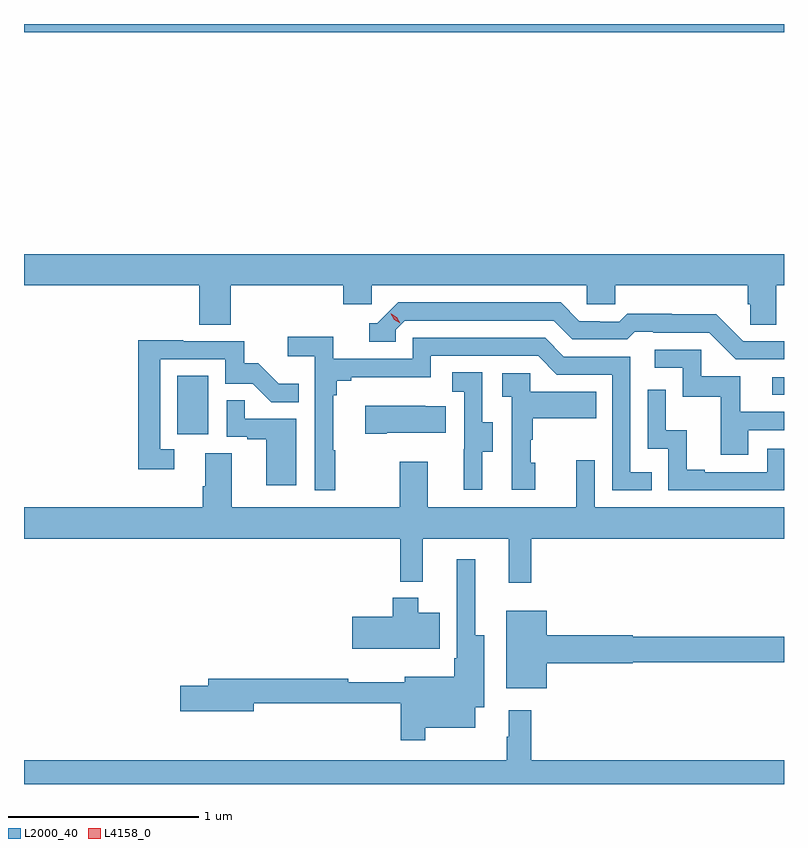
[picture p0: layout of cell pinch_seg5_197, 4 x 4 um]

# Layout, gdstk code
import gdstk
lib = gdstk.Library(unit=1e-6, precision=1e-09)
def R(c, l, rs):  # rectangles x0, y0, x1, y1
    for r in rs: c.add(gdstk.rectangle(r[:2], r[2:], *l))
def P(c, l, *ps):  # polygons
    for p in ps: c.add(gdstk.Polygon(p, *l))
L2000_40 = (2000, 40)
L4158_0 = (4158, 0)

pinch_seg5_197 = lib.new_cell('pinch_seg5_197')
R(pinch_seg5_197, L2000_40, [(1008.698,899.934,1008.862,900.241), (1011.831,900.141,1011.892,900.234), (1007.892,902.048,1011.892,902.092)])
P(pinch_seg5_197, L2000_40, [(1008.98,900.716),(1009.571,900.716),(1009.571,900.618),(1009.722,900.618),(1009.722,900.716),(1010.853,900.716),(1010.853,900.618),(1011.003,900.618),(1011.003,900.716),(1011.701,900.716),(1011.701,900.618),(1011.715,900.618),(1011.715,900.508),(1011.852,900.508),(1011.852,900.716),(1011.892,900.716),(1011.892,900.88),(1007.892,900.88),(1007.892,900.716),(1008.815,900.716),(1008.815,900.508),(1008.98,900.508)],
  [(1011.892,900.423),(1011.678,900.423),(1011.536,900.565),(1011.3,900.565),(1011.3,900.568),(1011.067,900.568),(1011.025,900.525),(1010.922,900.525),(1010.922,900.528),(1010.815,900.528),(1010.716,900.627),(1009.863,900.627),(1009.752,900.516),(1009.709,900.516),(1009.709,900.42),(1009.848,900.42),(1009.848,900.483),(1009.896,900.531),(1010.679,900.531),(1010.778,900.432),(1011.067,900.432),(1011.106,900.471),(1011.205,900.471),(1011.205,900.468),(1011.498,900.468),(1011.639,900.327),(1011.892,900.327)],
  [(1009.531,899.849),(1009.519,899.849),(1009.519,900.137),(1009.538,900.137),(1009.538,900.214),(1009.615,900.214),(1009.615,900.233),(1010.034,900.233),(1010.034,900.345),(1010.598,900.345),(1010.697,900.246),(1010.988,900.246),(1010.988,899.637),(1011.197,899.637),(1011.197,899.733),(1011.084,899.733),(1011.084,900.342),(1010.734,900.342),(1010.635,900.441),(1009.938,900.441),(1009.938,900.33),(1009.52,900.33),(1009.52,900.446),(1009.281,900.446),(1009.281,900.344),(1009.422,900.344),(1009.422,899.637),(1009.531,899.637)],
  [(1008.682,899.853),(1008.609,899.853),(1008.609,900.327),(1008.951,900.327),(1008.951,900.198),(1009.095,900.198),(1009.193,900.1),(1009.337,900.1),(1009.337,900.199),(1009.233,900.199),(1009.126,900.306),(1009.05,900.306),(1009.05,900.423),(1008.731,900.423),(1008.731,900.428),(1008.493,900.428),(1008.493,899.748),(1008.682,899.748)],
  [(1011.703,899.955),(1011.892,899.955),(1011.892,900.051),(1011.661,900.051),(1011.661,900.237),(1011.456,900.237),(1011.456,900.378),(1011.213,900.378),(1011.213,900.282),(1011.36,900.282),(1011.36,900.129),(1011.559,900.129),(1011.559,899.826),(1011.703,899.826)],
  [(1010.305,899.842),(1010.359,899.842),(1010.359,899.997),(1010.304,899.997),(1010.304,900.26),(1010.145,900.26),(1010.145,900.157),(1010.208,900.157),(1010.208,899.853),(1010.207,899.853),(1010.207,899.64),(1010.305,899.64)],
  [(1010.584,899.784),(1010.559,899.784),(1010.559,899.903),(1010.569,899.903),(1010.569,900.017),(1010.903,900.017),(1010.903,900.157),(1010.556,900.157),(1010.556,900.255),(1010.409,900.255),(1010.409,900.131),(1010.46,900.131),(1010.46,899.64),(1010.584,899.64)],
  [(1011.892,899.856),(1011.804,899.856),(1011.804,899.733),(1011.475,899.733),(1011.475,899.746),(1011.38,899.746),(1011.38,899.954),(1011.27,899.954),(1011.27,900.166),(1011.174,900.166),(1011.174,899.856),(1011.282,899.856),(1011.282,899.637),(1011.892,899.637)],
  [(1009.324,900.015),(1009.055,900.015),(1009.055,900.113),(1008.96,900.113),(1008.96,899.919),(1009.067,899.919),(1009.067,899.907),(1009.166,899.907),(1009.166,899.664),(1009.324,899.664)],
  [(1009.801,899.942),(1010.111,899.942),(1010.111,900.079),(1010.003,900.079),(1010.003,900.082),(1009.689,900.082),(1009.689,899.935),(1009.801,899.935)],
  [(1009.873,899.156),(1009.991,899.156),(1009.991,899.384),(1010.444,899.384),(1010.444,899.151),(1010.561,899.151),(1010.561,899.384),(1011.892,899.384),(1011.892,899.548),(1010.895,899.548),(1010.895,899.797),(1010.798,899.797),(1010.798,899.548),(1010.017,899.548),(1010.017,899.788),(1009.87,899.788),(1009.87,899.548),(1008.985,899.548),(1008.985,899.834),(1008.845,899.834),(1008.845,899.66),(1008.833,899.66),(1008.833,899.548),(1007.892,899.548),(1007.892,899.384),(1009.873,899.384)],
  [(1010.005,898.388),(1010.266,898.388),(1010.266,898.496),(1010.314,898.496),(1010.314,898.876),(1010.266,898.876),(1010.266,899.275),(1010.169,899.275),(1010.169,898.753),(1010.156,898.753),(1010.156,898.657),(1009.895,898.657),(1009.895,898.627),(1009.599,898.627),(1009.599,898.646),(1008.863,898.646),(1008.863,898.61),(1008.714,898.61),(1008.714,898.475),(1009.102,898.475),(1009.102,898.518),(1009.876,898.518),(1009.876,898.323),(1010.005,898.323)],
  [(1010.08,898.993),(1009.966,898.993),(1009.966,899.071),(1009.832,899.071),(1009.832,898.971),(1009.62,898.971),(1009.62,898.805),(1010.08,898.805)],
  [(1010.644,898.727),(1011.096,898.727),(1011.096,898.732),(1011.892,898.732),(1011.892,898.868),(1011.096,898.868),(1011.096,898.874),(1010.644,898.874),(1010.644,899.005),(1010.429,899.005),(1010.429,898.595),(1010.644,898.595)],
  [(1010.444,898.48),(1010.444,898.34),(1010.433,898.34),(1010.433,898.216),(1007.892,898.216),(1007.892,898.092),(1011.892,898.092),(1011.892,898.216),(1010.561,898.216),(1010.561,898.48)])
P(pinch_seg5_197, L4158_0, [(1009.871,900.516),(1009.84,900.535),(1009.823,900.568),(1009.823,900.568),(1009.824,900.568),(1009.854,900.549),(1009.871,900.516),(1009.871,900.516)])

lib.write_gds('pinch_seg5_197.gds')
